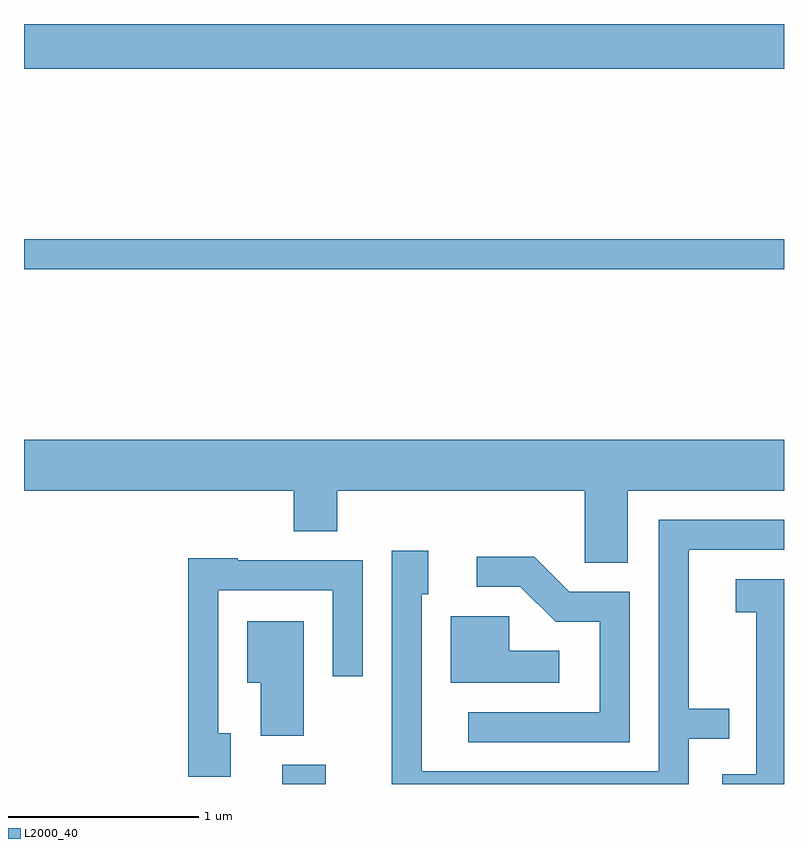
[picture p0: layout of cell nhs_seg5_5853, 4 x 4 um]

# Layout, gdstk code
import gdstk
lib = gdstk.Library(unit=1e-6, precision=1e-09)
def R(c, l, rs):  # rectangles x0, y0, x1, y1
    for r in rs: c.add(gdstk.rectangle(r[:2], r[2:], *l))
def P(c, l, *ps):  # polygons
    for p in ps: c.add(gdstk.Polygon(p, *l))
L2000_40 = (2000, 40)

nhs_seg5_5853 = lib.new_cell('nhs_seg5_5853')
R(nhs_seg5_5853, L2000_40, [(358.971,1524.072,359.199,1524.174), (357.611,1526.781,361.611,1526.939), (357.611,1527.836,361.611,1528.072)])
P(nhs_seg5_5853, L2000_40, [(360.789,1525.616),(361.611,1525.616),(361.611,1525.884),(357.611,1525.884),(357.611,1525.616),(359.031,1525.616),(359.031,1525.401),(359.259,1525.401),(359.259,1525.616),(360.561,1525.616),(360.561,1525.236),(360.789,1525.236)],
  [(361.109,1524.311),(361.323,1524.311),(361.323,1524.469),(361.109,1524.469),(361.109,1525.306),(361.611,1525.306),(361.611,1525.464),(360.951,1525.464),(360.951,1524.139),(359.704,1524.139),(359.704,1525.071),(359.739,1525.071),(359.739,1525.299),(359.546,1525.299),(359.546,1524.072),(361.109,1524.072)],
  [(360.799,1525.084),(360.482,1525.084),(360.297,1525.269),(359.993,1525.269),(359.993,1525.111),(360.224,1525.111),(360.409,1524.926),(360.641,1524.926),(360.641,1524.449),(359.948,1524.449),(359.948,1524.291),(360.799,1524.291)],
  [(358.699,1524.339),(358.634,1524.339),(358.634,1525.091),(359.236,1525.091),(359.236,1524.638),(359.394,1524.638),(359.394,1525.249),(358.735,1525.249),(358.735,1525.259),(358.476,1525.259),(358.476,1524.111),(358.699,1524.111)],
  [(361.611,1525.149),(361.356,1525.149),(361.356,1524.976),(361.466,1524.976),(361.466,1524.124),(361.286,1524.124),(361.286,1524.072),(361.611,1524.072)],
  [(360.428,1524.774),(360.164,1524.774),(360.164,1524.954),(359.856,1524.954),(359.856,1524.606),(360.428,1524.606)],
  [(359.084,1524.929),(358.786,1524.929),(358.786,1524.606),(358.856,1524.606),(358.856,1524.326),(359.084,1524.326)])

lib.write_gds('nhs_seg5_5853.gds')
